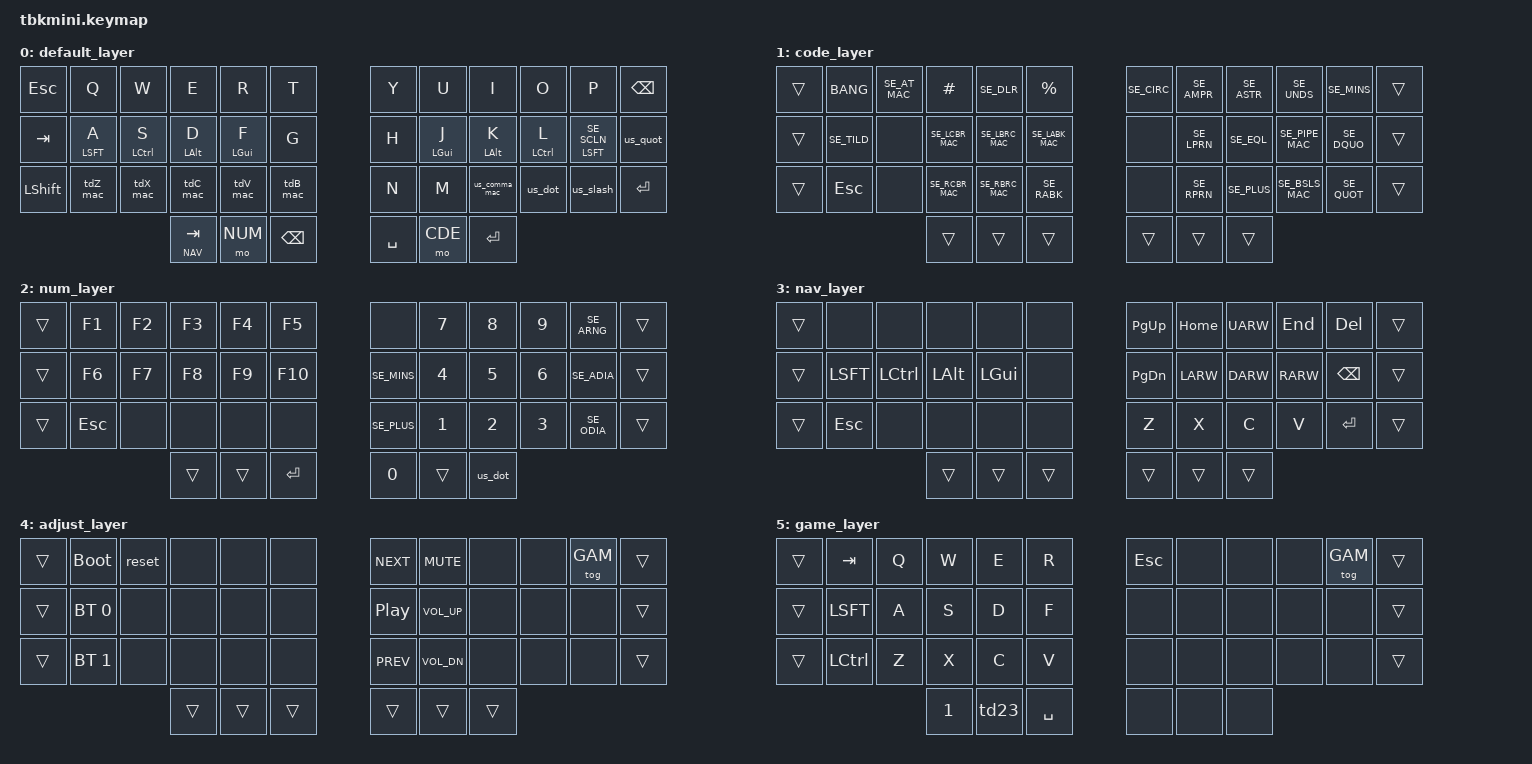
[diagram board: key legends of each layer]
/*
 * Copyright (c) 2020 The ZMK Contributors
 *
 * SPDX-License-Identifier: MIT
 */

#include <behaviors.dtsi>
#include <dt-bindings/zmk/keys.h>
#include <dt-bindings/zmk/bt.h>
#include "funberg/se_us.dtsi"
#include "funberg/homerow_mods.dtsi"
#include "funberg/tapdances.dtsi"

#define CDE   1
#define NUM   2
#define NAV   3
#define ADJ   4
#define GAM   5

/ {
    conditional_layers {
        compatible = "zmk,conditional-layers";
        tri_layer {
            if-layers = <CDE NUM>;
            then-layer = <ADJ>;
        };
    };

    behaviors {
        ltr: behavior_layer_tap_retro {
            compatible = "zmk,behavior-hold-tap";
            label = "LAYER_TAP_RETRO";
            #binding-cells = <2>;
            flavor = "balanced";
            retro-tap;
            tapping-term-ms = <200>;
            bindings = <&mo>, <&kp>;
        };
    };

    combos {
/*  
 0  1  2  3  4  5      6  7  8  9 10 11 
12 13 14 15 16 17     18 19 20 21 22 23 
24 25 26 27 28 29     30 31 32 33 34 35
         36 37 38     39 40 41
*/
        compatible = "zmk,combos";
        combo_lsft {
            timeout-ms = <50>;
            key-positions = <13 25>;
            bindings = <&kp LEFT_SHIFT>;
        };
        combo_lctrl {
            timeout-ms = <50>;
            key-positions = <14 26>;
            bindings = <&kp LEFT_CONTROL>;
        };
        combo_lalt {
            timeout-ms = <50>;
            key-positions = <15 27>;
            bindings = <&kp LEFT_ALT>;
        };
        combo_lgui {
            timeout-ms = <50>;
            key-positions = <16 28>;
            bindings = <&kp LEFT_GUI>;
        };
        combo_rgui {
            timeout-ms = <50>;
            key-positions = <19 31>;
            bindings = <&kp LEFT_GUI>;
        };
        combo_ralt {
            timeout-ms = <50>;
            key-positions = <20 32>;
            bindings = <&kp LEFT_ALT>;
        };
        combo_rctrl {
            timeout-ms = <50>;
            key-positions = <21 33>;
            bindings = <&kp LEFT_CONTROL>;
        };
        combo_rsft {
            timeout-ms = <50>;
            key-positions = <22 34>;
            bindings = <&kp LEFT_SHIFT>;
        };
    };

    keymap {
        compatible = "zmk,keymap";

        default_layer {
            bindings = <
&kp ESC    &kp Q       &kp W       &kp E       &kp R        &kp T          &kp Y   &kp U         &kp I            &kp O       &kp P                   &kp BSPC
&kp TAB    &lhm LSFT A &lhm LCTL S &lhm LALT D &lhm LGUI F  &kp G          &kp H   &rhm LGUI J   &rhm LALT K      &rhm LCTL L &rhm_scln LSFT SE_SCLN  &us_quot
&kp LSHFT  &tdZ_mac    &tdX_mac    &tdC_mac    &tdV_mac     &tdB_mac       &kp N   &kp M         &us_comma_mac    &us_dot     &us_slash               &kp RET
                                   &lt NAV TAB &mo NUM      &kp BKSP       &kp SPC &mo CDE       &kp RET
            >;
        };

        code_layer {
            bindings = <
&trans  &kp BANG    &kp SE_AT_MAC &kp HASH         &kp SE_DLR       &kp PRCNT            &kp SE_CIRC  &kp SE_AMPR  &kp SE_ASTR &kp SE_UNDS      &kp SE_MINS  &trans
&trans  &kp SE_TILD &none         &kp SE_LCBR_MAC  &kp SE_LBRC_MAC  &kp SE_LABK_MAC      &none        &kp SE_LPRN  &kp SE_EQL  &kp SE_PIPE_MAC  &kp SE_DQUO  &trans
&trans  &kp ESC     &none         &kp SE_RCBR_MAC  &kp SE_RBRC_MAC  &kp SE_RABK          &none        &kp SE_RPRN  &kp SE_PLUS &kp SE_BSLS_MAC  &kp SE_QUOT  &trans
                                  &trans           &trans           &trans               &trans       &trans       &trans
            >;
        };

        num_layer {
            bindings = <
&trans  &kp F1    &kp F2    &kp F3    &kp F4    &kp F5           &none       &kp N7  &kp N8   &kp N9   &kp SE_ARNG  &trans
&trans  &kp F6    &kp F7    &kp F8    &kp F9    &kp F10          &kp SE_MINS &kp N4  &kp N5   &kp N6   &kp SE_ADIA  &trans
&trans  &kp ESC   &none     &none     &none     &none            &kp SE_PLUS &kp N1  &kp N2   &kp N3   &kp SE_ODIA  &trans
                            &trans    &trans    &kp RET          &kp N0      &trans  &us_dot
            >;
        };

        nav_layer {
            bindings = <
&trans  &none    &none    &none    &none    &none      &kp PG_UP &kp HOME &kp UARW &kp END  &kp DEL   &trans
&trans  &kp LSFT &kp LCTL &kp LALT &kp LGUI &none      &kp PG_DN &kp LARW &kp DARW &kp RARW &kp BKSP  &trans
&trans  &kp ESC  &none    &none    &none    &none      &kp Z     &kp X    &kp C    &kp V    &kp RET   &trans
                          &trans   &trans   &trans     &trans    &trans   &trans
            >;
        };

        adjust_layer {
            bindings = <
&trans  &bootloader  &reset &none  &none  &none       &kp C_NEXT  &kp C_MUTE    &none &none &tog GAM  &trans
&trans  &bt BT_SEL 0 &none  &none  &none  &none       &kp C_PP    &kp C_VOL_UP  &none &none &none     &trans
&trans  &bt BT_SEL 1 &none  &none  &none  &none       &kp C_PREV  &kp C_VOL_DN  &none &none &none     &trans
                            &trans &trans &trans      &trans      &trans        &trans
            >;
        };

        game_layer {
            bindings = <
&trans  &kp TAB  &kp Q  &kp W  &kp E  &kp R          &kp ESC &none &none &none &tog GAM  &trans
&trans  &kp LSFT &kp A  &kp S  &kp D  &kp F          &none   &none &none &none &none     &trans
&trans  &kp LCTL &kp Z  &kp X  &kp C  &kp V          &none   &none &none &none &none     &trans
                        &kp N1 &td23  &kp SPC        &none   &none &none
            >;
        };

        };
};
